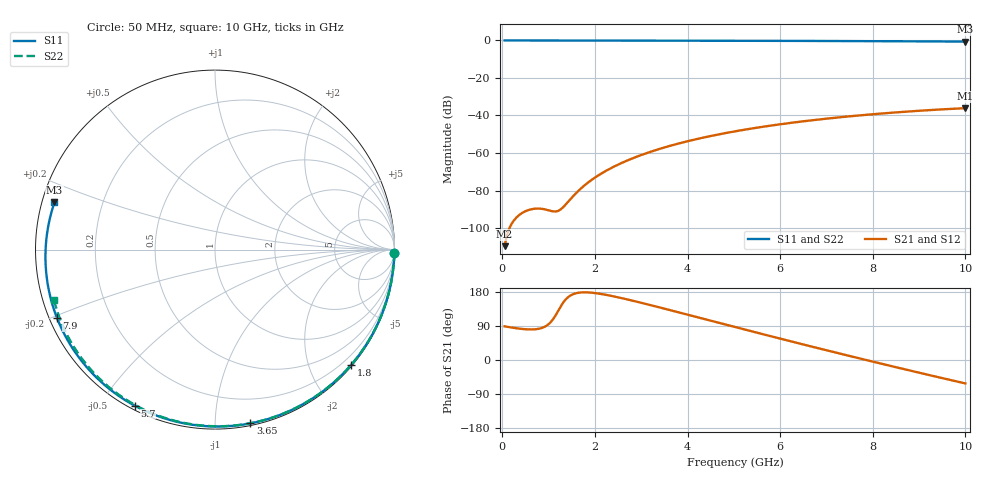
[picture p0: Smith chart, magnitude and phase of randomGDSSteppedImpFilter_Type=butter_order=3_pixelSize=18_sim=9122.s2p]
! freq	dB(S11)	phase(S11)	dB(S12)	phase(S12)
!  dB(S21)	phase(S21)	dB(S22)	phase(S22)
!S-par simulation data
#  GHz  S  DB  R 50
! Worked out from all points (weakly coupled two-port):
!   200 points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, 50 MHz to 10 GHz, reference 50 ohm
!   highest |S21| = -36.09 dB at 10 GHz (marker M1); lowest = -109.7 dB at 50 MHz (marker M2)
!   lowest |S11| = -0.6 dB at 10 GHz (marker M3), VSWR 28.50, Z = 1.79 + j7.18 ohm
!   |S11| at or under -10 dB: nowhere
!   |S22| runs from -0.5 to 0.0 dB; largest |S21 - S12| = 0
!   S11 on the Smith chart (normalised r, x): 50 MHz: open; 1.8 GHz: 0.02, -2.74; 3.65 GHz: 0.02, -1.22; 5.7 GHz: 0.02, -0.61; 7.9 GHz: 0.02, -0.21; 10 GHz: 0.04, +0.14
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0.05  -0.00 -1.1  -109.66 88.9  -109.66 88.9  -0.00 -0.9
0.45  -0.02 -10.2  -91.65 81.7  -91.65 81.7  -0.01 -8.5
0.85  -0.02 -19.2  -89.74 84.4  -89.74 84.4  -0.02 -16.1
1.25  -0.04 -28.1  -90.25 139.1  -90.25 139.1  -0.03 -23.6
1.65  -0.05 -36.9  -80.00 177.5  -80.00 177.5  -0.04 -30.9
1.75  -0.05 -39.0  -77.78 178.6  -77.78 178.6  -0.04 -32.8
1.8  -0.05 -40.1  -76.76 178.6  -76.76 178.6  -0.04 -33.7
2.1  -0.06 -46.6  -71.52 174.9  -71.52 174.9  -0.05 -39.1
2.45  -0.07 -54.0  -66.78 166.7  -66.78 166.7  -0.06 -45.4
2.9  -0.08 -63.4  -61.99 154.0  -61.99 154.0  -0.07 -53.4
3.4  -0.10 -73.5  -57.78 138.6  -57.78 138.6  -0.08 -62.0
3.65  -0.10 -78.5  -55.98 130.8  -55.98 130.8  -0.09 -66.3
4.35  -0.13 -92.1  -51.73 108.5  -51.73 108.5  -0.11 -77.9
5.05  -0.16 -105.3  -48.34 86.3  -48.34 86.3  -0.14 -89.2
5.7  -0.19 -117.2  -45.74 65.8  -45.74 65.8  -0.17 -99.3
6.2  -0.23 -126.3  -44.03 50.2  -44.03 50.2  -0.19 -107.0
6.7  -0.26 -135.2  -42.51 34.8  -42.51 34.8  -0.22 -114.4
7.3  -0.31 -145.9  -40.92 16.6  -40.92 16.6  -0.26 -123.3
7.9  -0.36 -156.6  -39.54 -1.3  -39.54 -1.3  -0.31 -132.0
8.35  -0.41 -164.8  -38.63 -14.6  -38.63 -14.6  -0.35 -138.6
9.2  -0.51 179.3  -37.17 -39.2  -37.17 -39.2  -0.44 -150.9
10  -0.61 163.6  -36.09 -61.9  -36.09 -61.9  -0.54 -162.7
